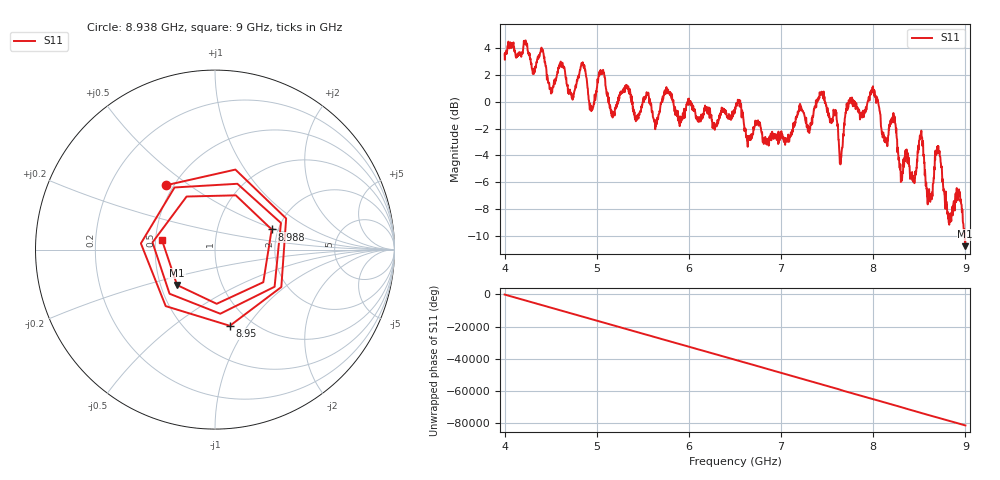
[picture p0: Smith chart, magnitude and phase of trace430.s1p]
! Created with skrf 1.8.0 (http://scikit-rf.org).
# Hz S RI R 50.0
!freq ReS11 ImS11
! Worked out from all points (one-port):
!   1601 points, 4 GHz to 9 GHz, reference 50 ohm
!   lowest |S11| = -10.8 dB at 8.997 GHz (marker M1), VSWR 1.81, Z = 30.4 - j13.1 ohm
!   |S11| at or under -10 dB: 8.992102 GHz to end of sweep
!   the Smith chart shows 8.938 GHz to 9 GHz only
!   S11 on the Smith chart (normalised r, x): 8.938 GHz: 0.46, +0.41; 8.95 GHz: 0.80, -0.83; 8.988 GHz: 1.85, +0.47; 9 GHz: 0.54, +0.06
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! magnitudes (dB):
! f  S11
! 4 GHz  3.5
! 4.406 GHz  3.9
! 4.506 GHz  0.7
! 4.625 GHz  2.9
! 4.728 GHz  0.3
! 4.853 GHz  2.7
! 4.941 GHz  -0.7
! 5.05 GHz  2.1
! 5.169 GHz  -0.8
! 5.25 GHz  0.5
! 5.875 GHz  -1.1
! 6.5 GHz  -0.4
! 7.125 GHz  -2.3
! 7.444 GHz  0.6
! 7.647 GHz  -4.5
! 7.75 GHz  0.3
! 8.003 GHz  0.9
! 8.375 GHz  -3.8
! 8.447 GHz  -6.1
! 8.522 GHz  -2.2
! 8.609 GHz  -6.9
! 8.7 GHz  -3.3
! 8.822 GHz  -9.1
! 8.938 GHz  -6.9
! 8.95 GHz  -7.3
! 8.988 GHz  -9.5
! 8.997 GHz  -10.8
! 9 GHz  -10.5
